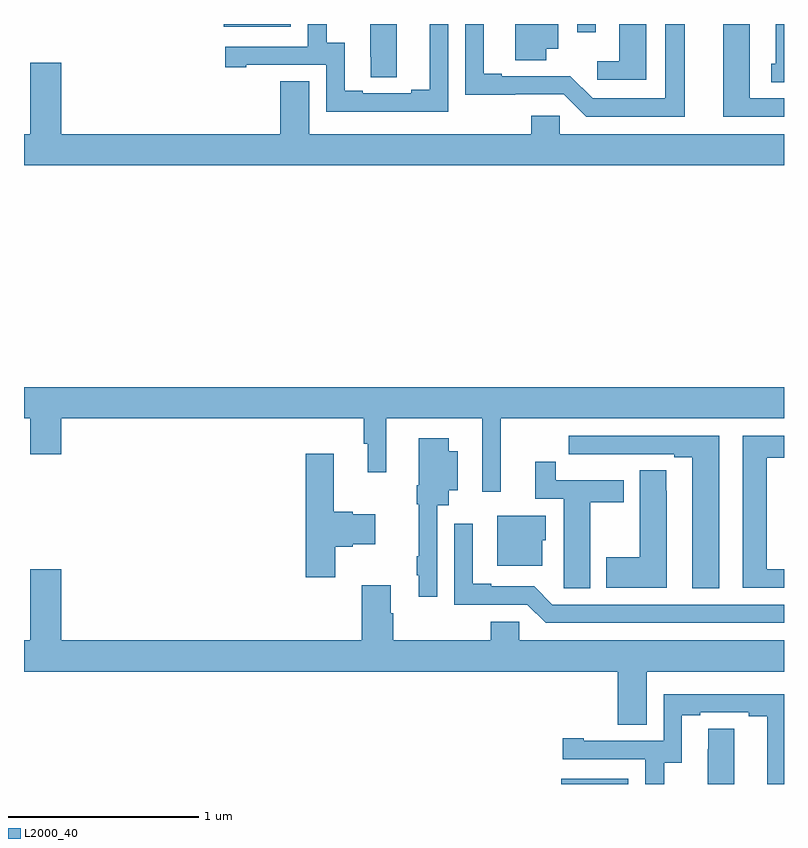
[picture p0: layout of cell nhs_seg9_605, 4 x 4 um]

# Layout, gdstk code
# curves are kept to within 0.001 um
import gdstk
lib = gdstk.Library(unit=1e-6, precision=1e-09)
def R(c, l, rs):  # rectangles x0, y0, x1, y1
    for r in rs: c.add(gdstk.rectangle(r[:2], r[2:], *l))
def P(c, l, *ps):  # polygons
    for p in ps: c.add(gdstk.Polygon(p, *l))
L2000_40 = (2000, 40)

nhs_seg9_605 = lib.new_cell('nhs_seg9_605')
R(nhs_seg9_605, L2000_40, [(143.828,1190.5,144.181,1190.527), (143.913,1194.456,144.009,1194.5), (142.052,1194.485,142.405,1194.5)])
P(nhs_seg9_605, L2000_40, [(145,1194.5),(144.956,1194.5),(144.956,1194.291),(144.932,1194.291),(144.932,1194.193),(145,1194.193)],
  [(144.274,1194.5),(144.134,1194.5),(144.134,1194.304),(144.018,1194.304),(144.018,1194.207),(144.274,1194.207)],
  [(145,1194.108),(144.82,1194.108),(144.82,1194.5),(144.68,1194.5),(144.68,1194.012),(145,1194.012)],
  [(143.749,1194.371),(143.812,1194.371),(143.812,1194.5),(143.585,1194.5),(143.585,1194.31),(143.749,1194.31)],
  [(143.232,1194.5),(143.135,1194.5),(143.135,1194.155),(143.039,1194.155),(143.039,1194.135),(142.783,1194.135),(142.783,1194.15),(142.687,1194.15),(142.687,1194.401),(142.593,1194.401),(142.593,1194.5),(142.494,1194.5),(142.494,1194.381),(142.059,1194.381),(142.059,1194.273),(142.171,1194.273),(142.171,1194.285),(142.59,1194.285),(142.59,1194.039),(143.232,1194.039)],
  [(142.963,1194.5),(142.823,1194.5),(142.823,1194.328),(142.824,1194.328),(142.824,1194.22),(142.963,1194.22)],
  [(144.478,1194.5),(144.374,1194.5),(144.374,1194.108),(143.994,1194.108),(143.876,1194.226),(143.515,1194.225),(143.515,1194.238),(143.419,1194.238),(143.419,1194.5),(143.322,1194.5),(143.322,1194.128),(143.841,1194.129),(143.958,1194.012),(144.478,1194.012)],
  [(145,1193.92),(143.82,1193.92),(143.82,1194.018),(143.669,1194.018),(143.669,1193.92),(142.501,1193.92),(142.501,1194.2),(142.349,1194.2),(142.349,1193.92),(141.196,1193.92),(141.196,1194.295),(141.032,1194.295),(141.032,1193.92),(141,1193.92),(141,1193.756),(145,1193.756)],
  [(143.51,1192.424),(145,1192.424),(145,1192.588),(141,1192.588),(141,1192.424),(141.032,1192.424),(141.032,1192.236),(141.196,1192.236),(141.196,1192.424),(142.789,1192.424),(142.789,1192.29),(142.808,1192.29),(142.808,1192.14),(142.906,1192.14),(142.906,1192.424),(143.412,1192.424),(143.412,1192.038),(143.51,1192.038)],
  [(144.658,1192.332),(143.868,1192.332),(143.868,1192.236),(143.98,1192.236),(143.98,1192.235),(144.146,1192.235),(144.146,1192.236),(144.422,1192.236),(144.422,1192.221),(144.518,1192.221),(144.518,1191.529),(144.658,1191.529)],
  [(145,1191.63),(144.91,1191.63),(144.91,1192.216),(145,1192.216),(145,1192.332),(144.782,1192.332),(144.782,1191.534),(145,1191.534)],
  [(143.175,1191.968),(143.236,1191.968),(143.236,1192.046),(143.284,1192.046),(143.284,1192.252),(143.236,1192.252),(143.236,1192.321),(143.078,1192.321),(143.078,1192.072),(143.067,1192.072),(143.067,1191.972),(143.077,1191.972),(143.077,1191.698),(143.067,1191.698),(143.067,1191.598),(143.078,1191.598),(143.078,1191.486),(143.175,1191.486)],
  [(142.638,1191.749),(142.731,1191.749),(142.731,1191.761),(142.849,1191.761),(142.849,1191.919),(142.731,1191.919),(142.731,1191.932),(142.63,1191.932),(142.63,1192.237),(142.484,1192.237),(142.484,1191.588),(142.638,1191.588)],
  [(143.98,1191.982),(144.157,1191.982),(144.157,1192.098),(143.798,1192.098),(143.798,1192.195),(143.69,1192.195),(143.69,1192.002),(143.84,1192.002),(143.84,1191.64),(143.841,1191.64),(143.841,1191.529),(143.98,1191.529)],
  [(144.382,1192.043),(144.381,1192.043),(144.381,1192.151),(144.242,1192.151),(144.242,1191.693),(144.065,1191.693),(144.065,1191.533),(144.382,1191.533)],
  [(143.728,1191.783),(143.746,1191.783),(143.746,1191.913),(143.492,1191.913),(143.492,1191.65),(143.728,1191.65)],
  [(145,1191.444),(143.781,1191.444),(143.685,1191.54),(143.458,1191.54),(143.458,1191.553),(143.362,1191.553),(143.362,1191.871),(143.265,1191.871),(143.265,1191.444),(143.649,1191.444),(143.745,1191.348),(145,1191.348)],
  [(144.277,1191.092),(145,1191.092),(145,1191.256),(143.607,1191.256),(143.607,1191.354),(143.456,1191.354),(143.456,1191.256),(142.943,1191.256),(142.943,1191.398),(142.93,1191.398),(142.93,1191.547),(142.778,1191.547),(142.778,1191.256),(141.196,1191.256),(141.196,1191.631),(141.032,1191.631),(141.032,1191.256),(141,1191.256),(141,1191.092),(144.125,1191.092),(144.125,1190.812),(144.277,1190.812)],
  [(144.369,1190.611),(144.463,1190.611),(144.463,1190.862),(144.559,1190.862),(144.559,1190.877),(144.815,1190.877),(144.815,1190.857),(144.911,1190.857),(144.911,1190.5),(145,1190.5),(145,1190.973),(144.366,1190.973),(144.366,1190.727),(143.947,1190.727),(143.947,1190.74),(143.835,1190.74),(143.835,1190.631),(144.27,1190.631),(144.27,1190.5),(144.369,1190.5)],
  [(144.739,1190.792),(144.6,1190.792),(144.6,1190.684),(144.599,1190.684),(144.599,1190.5),(144.739,1190.5)])

lib.write_gds('nhs_seg9_605.gds')
